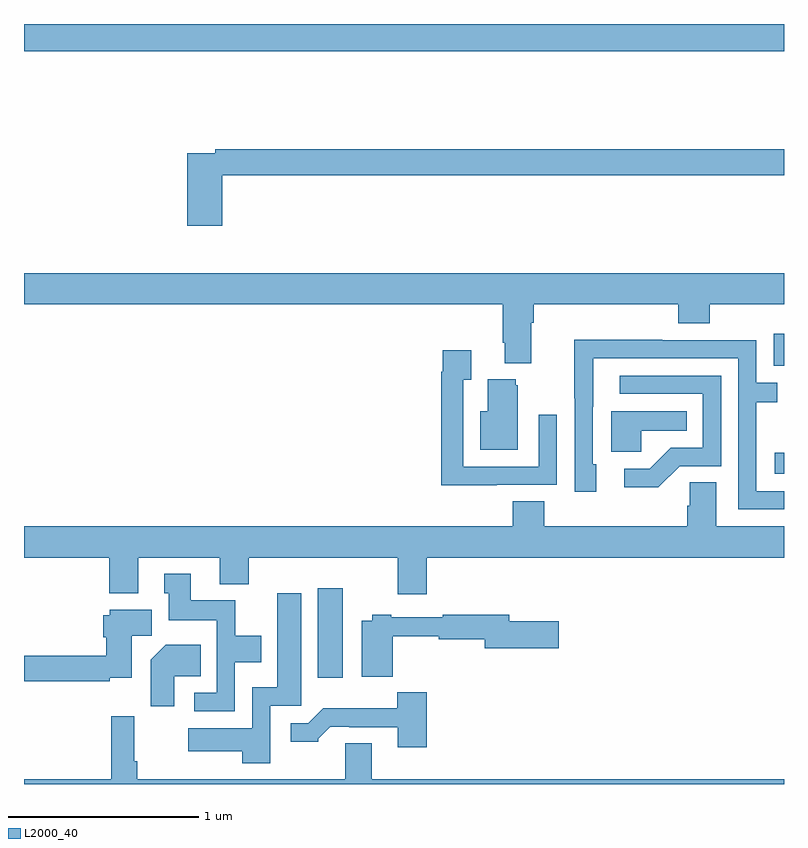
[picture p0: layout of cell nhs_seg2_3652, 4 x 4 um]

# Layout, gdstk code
import gdstk
lib = gdstk.Library(unit=1e-6, precision=1e-09)
def R(c, l, rs):  # rectangles x0, y0, x1, y1
    for r in rs: c.add(gdstk.rectangle(r[:2], r[2:], *l))
def P(c, l, *ps):  # polygons
    for p in ps: c.add(gdstk.Polygon(p, *l))
L2000_40 = (2000, 40)

nhs_seg2_3652 = lib.new_cell('nhs_seg2_3652')
R(nhs_seg2_3652, L2000_40, [(304.547,624.36,304.678,624.829), (306.951,625.433,307,625.543), (306.945,626.001,307,626.17), (303,627.656,307,627.8)])
P(nhs_seg2_3652, L2000_40, [(304.043,627.004),(307,627.004),(307,627.14),(304.006,627.14),(304.006,627.12),(303.86,627.12),(303.86,626.739),(304.043,626.739)],
  [(305.671,626.228),(305.684,626.228),(305.684,626.324),(306.443,626.324),(306.443,626.225),(306.608,626.225),(306.608,626.324),(307,626.324),(307,626.488),(303,626.488),(303,626.324),(305.519,626.324),(305.519,626.122),(305.531,626.122),(305.531,626.015),(305.671,626.015)],
  [(307,625.341),(306.855,625.341),(306.855,625.81),(306.965,625.81),(306.965,625.911),(306.855,625.911),(306.855,626.136),(306.359,626.136),(306.359,626.138),(305.896,626.138),(305.896,625.831),(305.898,625.831),(305.898,625.338),(306.013,625.338),(306.013,625.482),(305.994,625.482),(305.994,625.786),(305.995,625.786),(305.995,626.04),(306.759,626.04),(306.759,625.245),(307,625.245)],
  [(305.489,625.374),(305.805,625.374),(305.805,625.744),(305.709,625.744),(305.709,625.47),(305.313,625.47),(305.313,625.927),(305.353,625.927),(305.353,626.083),(305.205,626.083),(305.205,625.97),(305.197,625.97),(305.197,625.373),(305.489,625.373)],
  [(306.45,625.473),(306.669,625.473),(306.669,625.95),(306.135,625.95),(306.135,625.854),(306.573,625.854),(306.573,625.569),(306.404,625.569),(306.293,625.458),(306.159,625.458),(306.159,625.361),(306.337,625.361)],
  [(305.599,625.899),(305.588,625.899),(305.588,625.93),(305.441,625.93),(305.441,625.762),(305.402,625.762),(305.402,625.559),(305.599,625.559)],
  [(306.249,625.658),(306.488,625.658),(306.488,625.762),(306.092,625.762),(306.092,625.55),(306.249,625.55)],
  [(305.12,624.992),(307,624.992),(307,625.156),(306.643,625.156),(306.643,625.388),(306.504,625.388),(306.504,625.265),(306.491,625.265),(306.491,625.156),(305.738,625.156),(305.738,625.289),(305.573,625.289),(305.573,625.156),(303,625.156),(303,624.992),(303.449,624.992),(303.449,624.803),(303.601,624.803),(303.601,624.992),(304.031,624.992),(304.031,624.851),(304.184,624.851),(304.184,624.992),(304.967,624.992),(304.967,624.798),(305.12,624.798)],
  [(304.11,624.44),(304.249,624.44),(304.249,624.58),(304.113,624.58),(304.113,624.766),(303.877,624.766),(303.877,624.907),(303.737,624.907),(303.737,624.804),(303.761,624.804),(303.761,624.662),(304.014,624.662),(304.014,624.279),(303.897,624.279),(303.897,624.183),(304.11,624.183)],
  [(304.296,624.213),(304.459,624.213),(304.459,624.805),(304.334,624.805),(304.334,624.31),(304.2,624.31),(304.2,624.094),(303.864,624.094),(303.864,623.972),(304.148,623.972),(304.148,623.91),(304.296,623.91)],
  [(303.452,624.359),(303.568,624.359),(303.568,624.58),(303.673,624.58),(303.673,624.718),(303.45,624.718),(303.45,624.687),(303.416,624.687),(303.416,624.573),(303.434,624.573),(303.434,624.476),(303,624.476),(303,624.34),(303.452,624.34)],
  [(304.94,624.577),(305.184,624.577),(305.184,624.562),(305.426,624.562),(305.426,624.515),(305.815,624.515),(305.815,624.657),(305.554,624.657),(305.554,624.691),(305.203,624.691),(305.203,624.678),(304.933,624.678),(304.933,624.691),(304.833,624.691),(304.833,624.658),(304.778,624.658),(304.778,624.365),(304.94,624.365)],
  [(303.79,624.368),(303.929,624.368),(303.929,624.532),(303.746,624.532),(303.668,624.454),(303.668,624.21),(303.79,624.21)],
  [(305.12,624.283),(304.965,624.283),(304.965,624.199),(304.576,624.199),(304.497,624.12),(304.404,624.12),(304.404,624.023),(304.548,624.023),(304.548,624.038),(304.612,624.102),(304.711,624.102),(304.711,624.099),(304.967,624.099),(304.967,623.994),(305.12,623.994)],
  [(307,623.824),(304.831,623.824),(304.831,624.014),(304.691,624.014),(304.691,623.824),(303.596,623.824),(303.596,623.92),(303.581,623.92),(303.581,624.157),(303.46,624.157),(303.46,623.824),(303,623.824),(303,623.8),(307,623.8)])

lib.write_gds('nhs_seg2_3652.gds')
